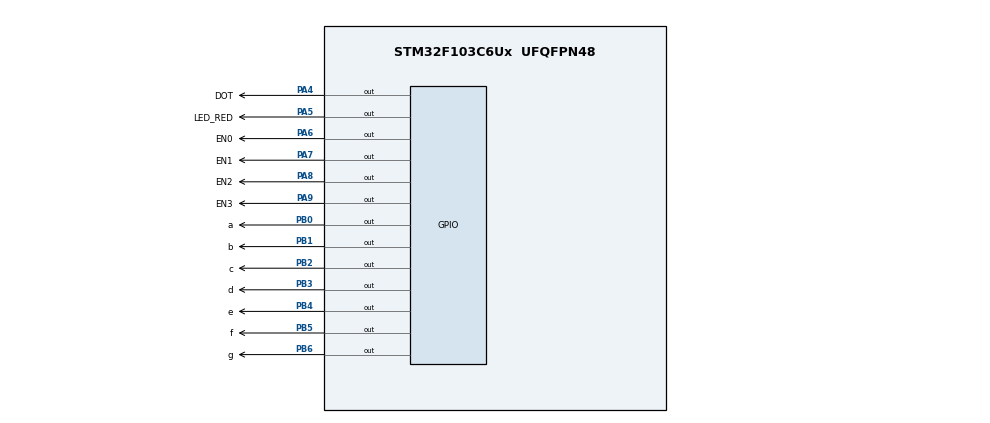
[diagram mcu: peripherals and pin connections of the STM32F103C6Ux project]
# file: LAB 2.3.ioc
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Mcu.Family=STM32F1
Mcu.Name=STM32F103C6Ux
Mcu.Package=UFQFPN48
NVIC.PriorityGroup=NVIC_PRIORITYGROUP_4
NVIC.TIM2_IRQn=true\:0\:0\:false\:false\:true\:true\:true
PA4.GPIO_Label=DOT
PA4.Signal=GPIO_Output
PA5.GPIO_Label=LED_RED
PA5.Signal=GPIO_Output
PA6.GPIO_Label=EN0
PA6.Signal=GPIO_Output
PA7.GPIO_Label=EN1
PA7.Signal=GPIO_Output
PA8.GPIO_Label=EN2
PA8.Signal=GPIO_Output
PA9.GPIO_Label=EN3
PA9.Signal=GPIO_Output
PB0.GPIO_Label=a
PB0.Signal=GPIO_Output
PB1.GPIO_Label=b
PB1.Signal=GPIO_Output
PB2.GPIO_Label=c
PB2.Signal=GPIO_Output
PB3.GPIO_Label=d
PB3.Signal=GPIO_Output
PB4.GPIO_Label=e
PB4.Signal=GPIO_Output
PB5.GPIO_Label=f
PB5.Signal=GPIO_Output
PB6.GPIO_Label=g
PB6.Signal=GPIO_Output
ProjectManager.HeapSize=0x200
ProjectManager.StackSize=0x400
ProjectManager.TargetToolchain=STM32CubeIDE
RCC.APB1Freq_Value=8000000
RCC.APB2Freq_Value=8000000
TIM2.Period=9
TIM2.Prescaler=7999
VP_SYS_VS_ND.Mode=No_Debug
VP_TIM2_VS_ClockSourceINT.Mode=Internal
board=custom

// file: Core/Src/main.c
/* USER CODE BEGIN Header */
/**
  ******************************************************************************
  * @file           : main.c
  * @brief          : Main program body
  ******************************************************************************
  * @attention
  *
  * <h2><center>&copy; Copyright (c) 2025 STMicroelectronics.
  * All rights reserved.</center></h2>
  *
  * This software component is licensed by ST under BSD 3-Clause license,
  * the "License"; You may not use this file except in compliance with the
  * License. You may obtain a copy of the License at:
  *                        opensource.org/licenses/BSD-3-Clause
  *
  ******************************************************************************
  */
/* USER CODE END Header */
#include "main.h"

TIM_HandleTypeDef htim2;

/* USER CODE BEGIN PV */
const int MAX_LED = 4;
int index_led = 0;
int led_buffer [4] = {1, 2, 3, 4};
/* USER CODE END PV */

void SystemClock_Config(void);
static void MX_GPIO_Init(void);
static void MX_TIM2_Init(void);
void display7SEG(int num);
void update7SEG(int index);

int main(void)
{

  /* MCU Configuration--------------------------------------------------------*/

  /* Reset of all peripherals, Initializes the Flash interface and the Systick. */
  HAL_Init();

  /* Configure the system clock */
  SystemClock_Config();

  /* Initialize all configured peripherals */
  MX_GPIO_Init();
  MX_TIM2_Init();
  /* USER CODE BEGIN 2 */
  HAL_TIM_Base_Start_IT(&htim2);
  /* USER CODE END 2 */

  /* Infinite loop */
  while (1)
  {

  }
}

void display7SEG(int num)
{
	if(num>=0 && num<=9){
	 if(num==0){
		   HAL_GPIO_WritePin(a_GPIO_Port, a_Pin, 0);
		   HAL_GPIO_WritePin(a_GPIO_Port, b_Pin, 0);
		   HAL_GPIO_WritePin(a_GPIO_Port, c_Pin, 0);
		   HAL_GPIO_WritePin(a_GPIO_Port, d_Pin, 0);
		   HAL_GPIO_WritePin(a_GPIO_Port, e_Pin, 0);
		   HAL_GPIO_WritePin(a_GPIO_Port, f_Pin, 0);
		   HAL_GPIO_WritePin(a_GPIO_Port, g_Pin, 1);
	 }
	 if (num==1){
	 		HAL_GPIO_WritePin(a_GPIO_Port, a_Pin, 1);
	 		HAL_GPIO_WritePin(a_GPIO_Port, b_Pin, 0);
	 		HAL_GPIO_WritePin(a_GPIO_Port, c_Pin, 0);
	 		HAL_GPIO_WritePin(a_GPIO_Port, d_Pin, 1);
	 		HAL_GPIO_WritePin(a_GPIO_Port, e_Pin, 1);
	 		HAL_GPIO_WritePin(a_GPIO_Port, f_Pin, 1);
	 		HAL_GPIO_WritePin(a_GPIO_Port, g_Pin, 1);
	 	}
	 	else if (num==2){
	 		HAL_GPIO_WritePin(a_GPIO_Port, a_Pin, 0);
	 		HAL_GPIO_WritePin(a_GPIO_Port, b_Pin, 0);
	 		HAL_GPIO_WritePin(a_GPIO_Port, c_Pin, 1);
	 		HAL_GPIO_WritePin(a_GPIO_Port, d_Pin, 0);
	 		HAL_GPIO_WritePin(a_GPIO_Port, e_Pin, 0);
	 		HAL_GPIO_WritePin(a_GPIO_Port, f_Pin, 1);
	 		HAL_GPIO_WritePin(a_GPIO_Port, g_Pin, 0);
	 	}
	 	else if (num==3){
	 		HAL_GPIO_WritePin(a_GPIO_Port, a_Pin, 0);
	 		HAL_GPIO_WritePin(a_GPIO_Port, b_Pin, 0);
	 		HAL_GPIO_WritePin(a_GPIO_Port, c_Pin, 0);
	 		HAL_GPIO_WritePin(a_GPIO_Port, d_Pin, 0);
	 		HAL_GPIO_WritePin(a_GPIO_Port, e_Pin, 1);
	 		HAL_GPIO_WritePin(a_GPIO_Port, f_Pin, 1);
	 		HAL_GPIO_WritePin(a_GPIO_Port, g_Pin, 0);

	 	}
	 	else if (num==4){
	 		HAL_GPIO_WritePin(a_GPIO_Port, a_Pin, 1);
	 		HAL_GPIO_WritePin(a_GPIO_Port, b_Pin, 0);
	 		HAL_GPIO_WritePin(a_GPIO_Port, c_Pin, 0);
	 		HAL_GPIO_WritePin(a_GPIO_Port, d_Pin, 1);
	 		HAL_GPIO_WritePin(a_GPIO_Port, e_Pin, 1);
	 		HAL_GPIO_WritePin(a_GPIO_Port, f_Pin, 0);
	 		HAL_GPIO_WritePin(a_GPIO_Port, g_Pin, 0);
	 	}
	 	else if (num==5){
	 		HAL_GPIO_WritePin(a_GPIO_Port, a_Pin, 0);
	 		HAL_GPIO_WritePin(a_GPIO_Port, b_Pin, 1);
	 		HAL_GPIO_WritePin(a_GPIO_Port, c_Pin, 0);
	 		HAL_GPIO_WritePin(a_GPIO_Port, d_Pin, 0);
	 		HAL_GPIO_WritePin(a_GPIO_Port, e_Pin, 1);
	 		HAL_GPIO_WritePin(a_GPIO_Port, f_Pin, 0);
	 		HAL_GPIO_WritePin(a_GPIO_Port, g_Pin, 0);
	 	}
	 	else if (num==6){
	 		HAL_GPIO_WritePin(a_GPIO_Port, a_Pin, 0);
	 		HAL_GPIO_WritePin(a_GPIO_Port, b_Pin, 1);
	 		HAL_GPIO_WritePin(a_GPIO_Port, c_Pin, 0);
	 		HAL_GPIO_WritePin(a_GPIO_Port, d_Pin, 0);
	 		HAL_GPIO_WritePin(a_GPIO_Port, e_Pin, 0);
	 		HAL_GPIO_WritePin(a_GPIO_Port, f_Pin, 0);
	 		HAL_GPIO_WritePin(a_GPIO_Port, g_Pin, 0);
	 	}
	 	else if (num==7){
	 		HAL_GPIO_WritePin(a_GPIO_Port, a_Pin, 0);
	 		HAL_GPIO_WritePin(a_GPIO_Port, b_Pin, 0);
	 		HAL_GPIO_WritePin(a_GPIO_Port, c_Pin, 0);
	 		HAL_GPIO_WritePin(a_GPIO_Port, d_Pin, 1);
	 		HAL_GPIO_WritePin(a_GPIO_Port, e_Pin, 1);
	 		HAL_GPIO_WritePin(a_GPIO_Port, f_Pin, 1);
	 		HAL_GPIO_WritePin(a_GPIO_Port, g_Pin, 1);
	 	}
	 	else if (num==8){
	 		HAL_GPIO_WritePin(a_GPIO_Port, a_Pin, 0);
	 		HAL_GPIO_WritePin(a_GPIO_Port, b_Pin, 0);
	 		HAL_GPIO_WritePin(a_GPIO_Port, c_Pin, 0);
	 		HAL_GPIO_WritePin(a_GPIO_Port, d_Pin, 0);
	 		HAL_GPIO_WritePin(a_GPIO_Port, e_Pin, 0);
	 		HAL_GPIO_WritePin(a_GPIO_Port, f_Pin, 0);
	 		HAL_GPIO_WritePin(a_GPIO_Port, g_Pin, 0);
	 	}
	 	else if (num==9){
	 		HAL_GPIO_WritePin(a_GPIO_Port, a_Pin, 0);
	 		HAL_GPIO_WritePin(a_GPIO_Port, b_Pin, 0);
	 		HAL_GPIO_WritePin(a_GPIO_Port, c_Pin, 0);
	 		HAL_GPIO_WritePin(a_GPIO_Port, d_Pin, 0);
	 		HAL_GPIO_WritePin(a_GPIO_Port, e_Pin, 1);
	 		HAL_GPIO_WritePin(a_GPIO_Port, f_Pin, 0);
	 		HAL_GPIO_WritePin(a_GPIO_Port, g_Pin, 0);
	 	}
	}
	else return;
}

void update7SEG(int index){
	switch(index){
	case 0:
		HAL_GPIO_WritePin(EN0_GPIO_Port, EN0_Pin, 1);
		HAL_GPIO_WritePin(EN1_GPIO_Port, EN1_Pin, 1);
		HAL_GPIO_WritePin(EN2_GPIO_Port, EN2_Pin, 1);
		HAL_GPIO_WritePin(EN3_GPIO_Port, EN3_Pin, 1);
		display7SEG(led_buffer[0]);
		HAL_GPIO_WritePin(EN0_GPIO_Port, EN0_Pin, 0);
		break;

	case 1:
		HAL_GPIO_WritePin(EN0_GPIO_Port, EN0_Pin, 1);
		HAL_GPIO_WritePin(EN1_GPIO_Port, EN1_Pin, 1);
		HAL_GPIO_WritePin(EN2_GPIO_Port, EN2_Pin, 1);
		HAL_GPIO_WritePin(EN3_GPIO_Port, EN3_Pin, 1);
		display7SEG(led_buffer[1]);
		HAL_GPIO_WritePin(EN1_GPIO_Port, EN1_Pin, 0);
		break;

	case 2:
		HAL_GPIO_WritePin(EN0_GPIO_Port, EN0_Pin, 1);
		HAL_GPIO_WritePin(EN1_GPIO_Port, EN1_Pin, 1);
		HAL_GPIO_WritePin(EN2_GPIO_Port, EN2_Pin, 1);
		HAL_GPIO_WritePin(EN3_GPIO_Port, EN3_Pin, 1);
		display7SEG(led_buffer[2]);
		HAL_GPIO_WritePin(EN2_GPIO_Port, EN2_Pin, 0);
		break;

	case 3:
		HAL_GPIO_WritePin(EN0_GPIO_Port, EN0_Pin, 1);
		HAL_GPIO_WritePin(EN1_GPIO_Port, EN1_Pin, 1);
		HAL_GPIO_WritePin(EN2_GPIO_Port, EN2_Pin, 1);
		HAL_GPIO_WritePin(EN3_GPIO_Port, EN3_Pin, 1);
		display7SEG(led_buffer[3]);
		HAL_GPIO_WritePin(EN3_GPIO_Port, EN3_Pin, 0);
		break;

	default:
		break;
	}
}
void SystemClock_Config(void)
{
  RCC_OscInitTypeDef RCC_OscInitStruct = {0};
  RCC_ClkInitTypeDef RCC_ClkInitStruct = {0};

  /** Initializes the RCC Oscillators according to the specified parameters
  * in the RCC_OscInitTypeDef structure.
  */
  RCC_OscInitStruct.OscillatorType = RCC_OSCILLATORTYPE_HSI;
  RCC_OscInitStruct.HSIState = RCC_HSI_ON;
  RCC_OscInitStruct.HSICalibrationValue = RCC_HSICALIBRATION_DEFAULT;
  RCC_OscInitStruct.PLL.PLLState = RCC_PLL_NONE;
  if (HAL_RCC_OscConfig(&RCC_OscInitStruct) != HAL_OK)
  {
    Error_Handler();
  }
  /** Initializes the CPU, AHB and APB buses clocks
  */
  RCC_ClkInitStruct.ClockType = RCC_CLOCKTYPE_HCLK|RCC_CLOCKTYPE_SYSCLK
                              |RCC_CLOCKTYPE_PCLK1|RCC_CLOCKTYPE_PCLK2;
  RCC_ClkInitStruct.SYSCLKSource = RCC_SYSCLKSOURCE_HSI;
  RCC_ClkInitStruct.AHBCLKDivider = RCC_SYSCLK_DIV1;
  RCC_ClkInitStruct.APB1CLKDivider = RCC_HCLK_DIV1;
  RCC_ClkInitStruct.APB2CLKDivider = RCC_HCLK_DIV1;

  if (HAL_RCC_ClockConfig(&RCC_ClkInitStruct, FLASH_LATENCY_0) != HAL_OK)
  {
    Error_Handler();
  }
}

static void MX_TIM2_Init(void)
{

  TIM_ClockConfigTypeDef sClockSourceConfig = {0};
  TIM_MasterConfigTypeDef sMasterConfig = {0};

  htim2.Instance = TIM2;
  htim2.Init.Prescaler = 7999;
  htim2.Init.CounterMode = TIM_COUNTERMODE_UP;
  htim2.Init.Period = 9;
  htim2.Init.ClockDivision = TIM_CLOCKDIVISION_DIV1;
  htim2.Init.AutoReloadPreload = TIM_AUTORELOAD_PRELOAD_DISABLE;
  if (HAL_TIM_Base_Init(&htim2) != HAL_OK)
  {
    Error_Handler();
  }
  sClockSourceConfig.ClockSource = TIM_CLOCKSOURCE_INTERNAL;
  if (HAL_TIM_ConfigClockSource(&htim2, &sClockSourceConfig) != HAL_OK)
  {
    Error_Handler();
  }
  sMasterConfig.MasterOutputTrigger = TIM_TRGO_RESET;
  sMasterConfig.MasterSlaveMode = TIM_MASTERSLAVEMODE_DISABLE;
  if (HAL_TIMEx_MasterConfigSynchronization(&htim2, &sMasterConfig) != HAL_OK)
  {
    Error_Handler();
  }

}

static void MX_GPIO_Init(void)
{
  GPIO_InitTypeDef GPIO_InitStruct = {0};

  /* GPIO Ports Clock Enable */
  __HAL_RCC_GPIOA_CLK_ENABLE();
  __HAL_RCC_GPIOB_CLK_ENABLE();

  /*Configure GPIO pin Output Level */
  HAL_GPIO_WritePin(GPIOA, DOT_Pin|LED_RED_Pin|EN0_Pin|EN1_Pin
                          |EN2_Pin|EN3_Pin, GPIO_PIN_RESET);

  /*Configure GPIO pin Output Level */
  HAL_GPIO_WritePin(GPIOB, a_Pin|b_Pin|c_Pin|d_Pin
                          |e_Pin|f_Pin|g_Pin, GPIO_PIN_RESET);

  /*Configure GPIO pins : DOT_Pin LED_RED_Pin EN0_Pin EN1_Pin
                           EN2_Pin EN3_Pin */
  GPIO_InitStruct.Pin = DOT_Pin|LED_RED_Pin|EN0_Pin|EN1_Pin
                          |EN2_Pin|EN3_Pin;
  GPIO_InitStruct.Mode = GPIO_MODE_OUTPUT_PP;
  GPIO_InitStruct.Pull = GPIO_NOPULL;
  GPIO_InitStruct.Speed = GPIO_SPEED_FREQ_LOW;
  HAL_GPIO_Init(GPIOA, &GPIO_InitStruct);

  /*Configure GPIO pins : a_Pin b_Pin c_Pin d_Pin
                           e_Pin f_Pin g_Pin */
  GPIO_InitStruct.Pin = a_Pin|b_Pin|c_Pin|d_Pin
                          |e_Pin|f_Pin|g_Pin;
  GPIO_InitStruct.Mode = GPIO_MODE_OUTPUT_PP;
  GPIO_InitStruct.Pull = GPIO_NOPULL;
  GPIO_InitStruct.Speed = GPIO_SPEED_FREQ_LOW;
  HAL_GPIO_Init(GPIOB, &GPIO_InitStruct);

}

/* USER CODE BEGIN 4 */
int counter = 50;
int dot_counter = 100;
void HAL_TIM_PeriodElapsedCallback ( TIM_HandleTypeDef * htim ){
	if(--dot_counter<=0){
		dot_counter = 100;
		HAL_GPIO_TogglePin(DOT_GPIO_Port, DOT_Pin);
	}
	if(--counter<=0){
		counter = 50;
		update7SEG(index_led);
		index_led++;
		if(index_led >= MAX_LED){
			index_led = 0;
		}
	}
}
/* USER CODE END 4 */

void Error_Handler(void)
{
  __disable_irq();
  while (1)
  {
  }
}

/************************ (C) COPYRIGHT STMicroelectronics *****END OF FILE****/
